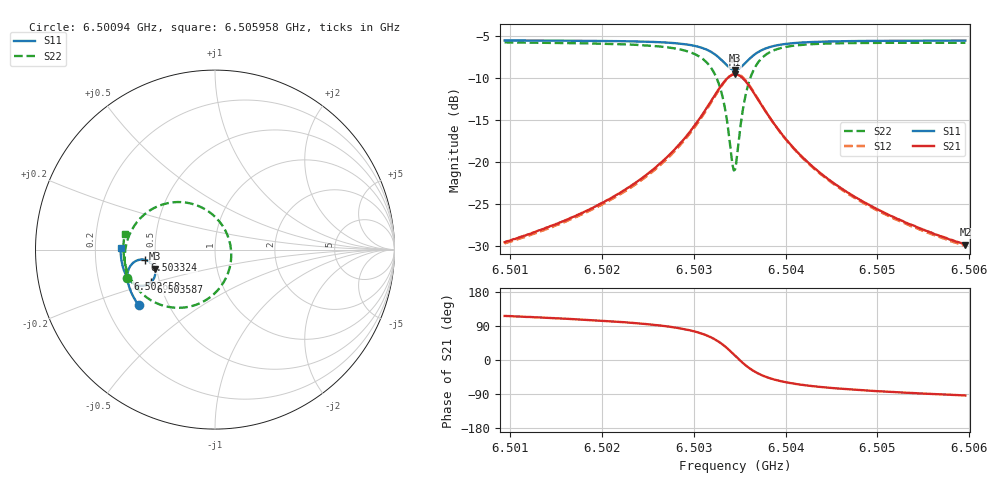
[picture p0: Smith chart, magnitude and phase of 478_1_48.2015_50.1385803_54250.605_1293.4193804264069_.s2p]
#  HZ  S  RI  R  50.00
! Rohde & Schwarz Vector Network Analyzer
! Rohde-Schwarz,ZNB20-2Port,1311601062101988,3.16
! Created: UTC 3/20/2024, 11:57:32 AM
! freq[Hz]  re:S11  im:S11  re:S21  im:S21  re:S12  im:S12  re:S22  im:S22
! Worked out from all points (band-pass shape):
!   401 points, 6.50094 GHz to 6.505958 GHz, reference 50 ohm
!   highest |S21| = -9.59 dB at 6.503449 GHz (marker M1); lowest = -29.8 dB at 6.505958 GHz (marker M2)
!   |S21| within 3 dB of the highest: 6.503198 GHz to 6.5037 GHz (502.3 kHz wide, 0.00772 % of centre)
!   lowest |S11| = -9.1 dB at 6.503449 GHz (marker M3), VSWR 2.09, Z = 24.4 - j5.93 ohm
!   |S11| at or under -10 dB: nowhere
!   |S22| runs from -21.0 to -5.8 dB; largest |S21 - S12| = 0.011
!   S11 on the Smith chart (normalised r, x): 6.50094 GHz: 0.34, -0.29; 6.502659 GHz: 0.33, -0.14; 6.503324 GHz: 0.44, -0.06; 6.503587 GHz: 0.45, -0.19; 6.505958 GHz: 0.31, +0.01
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6.5009396e9  -0.4258 -0.3103  -0.0148 0.0301  -0.0133 0.0302  -0.4891 -0.1562
6.5017802e9  -0.4621 -0.2483  -0.0143 0.0479  -0.0119 0.0475  -0.5025 -0.067
6.5022445e9  -0.4784 -0.2071  -0.0112 0.0673  -0.00835 0.0663  -0.4995 -0.000977
6.5026209e9  -0.4874 -0.1655  -0.00226 0.0968  0.00134 0.0947  -0.4801 0.0743
6.5026585e9  -0.4878 -0.1606  -0.000403 0.101  0.00303 0.0986  -0.4763 0.0835
6.5029345e9  -0.4838 -0.1175  0.0262 0.1435  0.0298 0.1393  -0.4206 0.1696
6.5031228e9  -0.4622 -0.0794  0.0806 0.1858  0.083 0.1799  -0.3168 0.2422
6.5032357e9  -0.4296 -0.0587  0.15 0.2035  0.1507 0.1975  -0.1919 0.2647
6.5033235e9  -0.3889 -0.0571  0.23 0.1871  0.2302 0.1825  -0.0539 0.2241
6.5033611e9  -0.3694 -0.0648  0.2666 0.1638  0.2673 0.1599  0.00614 0.1769
6.5034239e9  -0.3424 -0.0916  0.3145 0.0994  0.3172 0.0952  0.0789 0.0532
6.503449e9  -0.336 -0.1064  0.3246 0.0672  0.3282 0.0618  0.0899 -0.00732
6.5034741e9  -0.333 -0.1223  0.3286 0.0333  0.3322 0.0268  0.088 -0.0694
6.5035368e9  -0.34 -0.1599  0.3101 -0.0452  0.3128 -0.0548  0.0322 -0.2058
6.503587e9  -0.3565 -0.182  0.2765 -0.0911  0.2766 -0.1021  -0.0445 -0.2773
6.5036999e9  -0.4013 -0.2019  0.1914 -0.1362  0.1866 -0.1457  -0.2166 -0.3242
6.503863e9  -0.4478 -0.1924  0.1092 -0.1331  0.1024 -0.1382  -0.365 -0.2772
6.5040387e9  -0.4754 -0.1709  0.0644 -0.1129  0.0583 -0.1151  -0.4377 -0.2121
6.5042896e9  -0.4962 -0.141  0.0343 -0.0883  0.0294 -0.0888  -0.4813 -0.1395
6.5046786e9  -0.5122 -0.1004  0.0146 -0.0643  0.0115 -0.064  -0.5043 -0.0624
6.5051303e9  -0.5213 -0.0586  0.00511 -0.0482  0.00293 -0.0476  -0.5103 0.00131
6.5059584e9  -0.5263 0.0115  -0.00204 -0.0323  -0.00334 -0.0316  -0.5025 0.0889
